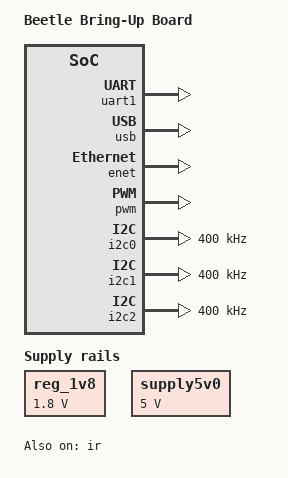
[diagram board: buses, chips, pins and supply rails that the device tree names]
/*
 * Copyright (C) 2015 Imagination Technologies Ltd.
 * Copyright (C) 2015 Google, Inc.
 *
 * This program is free software; you can redistribute it and/or modify
 * it under the terms of the GNU General Public License version 2 as
 * published by the Free Software Foundation.
 */

/dts-v1/;

#include "pistachio_beetle.dtsi"
#include <dt-bindings/sound/pistachio-audio.h>

/ {
	model = "Beetle Bring-Up Board";
	compatible = "img,pistachio-bub", "img,pistachio";

	aliases {
		serial0 = &uart0;
		serial1 = &uart1;
	};

	chosen {
		bootargs = "console=ttyS1,115200n8 earlycon=uart8250,mmio32,0x18101500,115200 root=/dev/sda1 rootwait ro";
	};

	reg_1v8: fixed-regulator {
		compatible = "regulator-fixed";
		regulator-name = "aux_adc_vref";
		regulator-min-microvolt = <1800000>;
		regulator-max-microvolt = <1800000>;
		regulator-boot-on;
	};

	supply5v0: supply5v0@0 {
		compatible = "regulator-fixed";
		regulator-name = "5V-supply";
		regulator-min-microvolt = <5000000>;
		regulator-max-microvolt = <5000000>;
	};

	pistachio_audio_card {
		compatible = "img,pistachio-audio";

		clocks = <&clk_core CLK_AUDIO_PLL>,
			 <&clk_core CLK_I2S>,
			 <&clk_core CLK_AUDIO>;
		clock-names = "audio_pll", "i2s_mclk", "dac_clk";

		img,cr-periph = <&cr_periph>;
		img,event-timer = <&event_timer>;

		pinctrl-names = "default";
		pinctrl-0 = <&dac_clk_pin>, <&i2s_mclk_pin>;

		spdif-out {
			cpu-dai = <&spdif_out>;
		};

		spdif-in {
			cpu-dai = <&spdif_in>;
		};

		parallel-out {
			cpu-dai = <&parallel_out>;
			sound-dai = <&internal_dac>;
		};

		i2s-out {
			cpu-dai = <&i2s_out>;
			format = "i2s";

			pcm5101 {
				mclk = <PISTACHIO_MCLK_I2S>;
				mclk-fs = <128 192 256 384 512 768 1024 1152 1536 2048 3072>;
				mclk-min-freq = <1024000>;
				mclk-max-freq = <49152000>;
			};
		};

		i2s-in {
			cpu-dai = <&i2s_in>;
			format = "i2s";

			pcm1802 {
				mclk = <PISTACHIO_MCLK_DAC>;
				mclk-fs = <256>;
				mclk-min-freq = <8192000>;
				mclk-max-freq = <49152000>;
				frame-master;
				bitclock-master;
			};
		};
	};
};

&uart1 {
	status = "okay";
};

&usb {
	status = "okay";
};

&usb_phy {
	pinctrl-names = "default";
	pinctrl-0 = <&usb_pwr_on_pins>;
	enable-vbus-drive;
};

&enet {
	status = "okay";

	mac-address = [0123456789AB];
};

&ir {
	status = "okay";
};

&pwm {
	status = "okay";

	pinctrl-0 = <&pwmpdm0_pin>, <&pwmpdm1_pin>, <&pwmpdm2_pin>,
		    <&pwmpdm3_pin>;
	pinctrl-names = "default";
};

&i2c0 {
	status = "okay";
	clock-frequency = <400000>;
};

&i2c1 {
	status = "okay";
	clock-frequency = <400000>;
};

&i2c2 {
	status = "okay";
	clock-frequency = <400000>;
};

&i2s_out {
	status = "okay";
};

&i2s_in {
	status = "okay";
};

&spdif_out {
	status = "okay";
};

&spdif_in {
	status = "okay";
};

&parallel_out {
	status = "okay";
};

